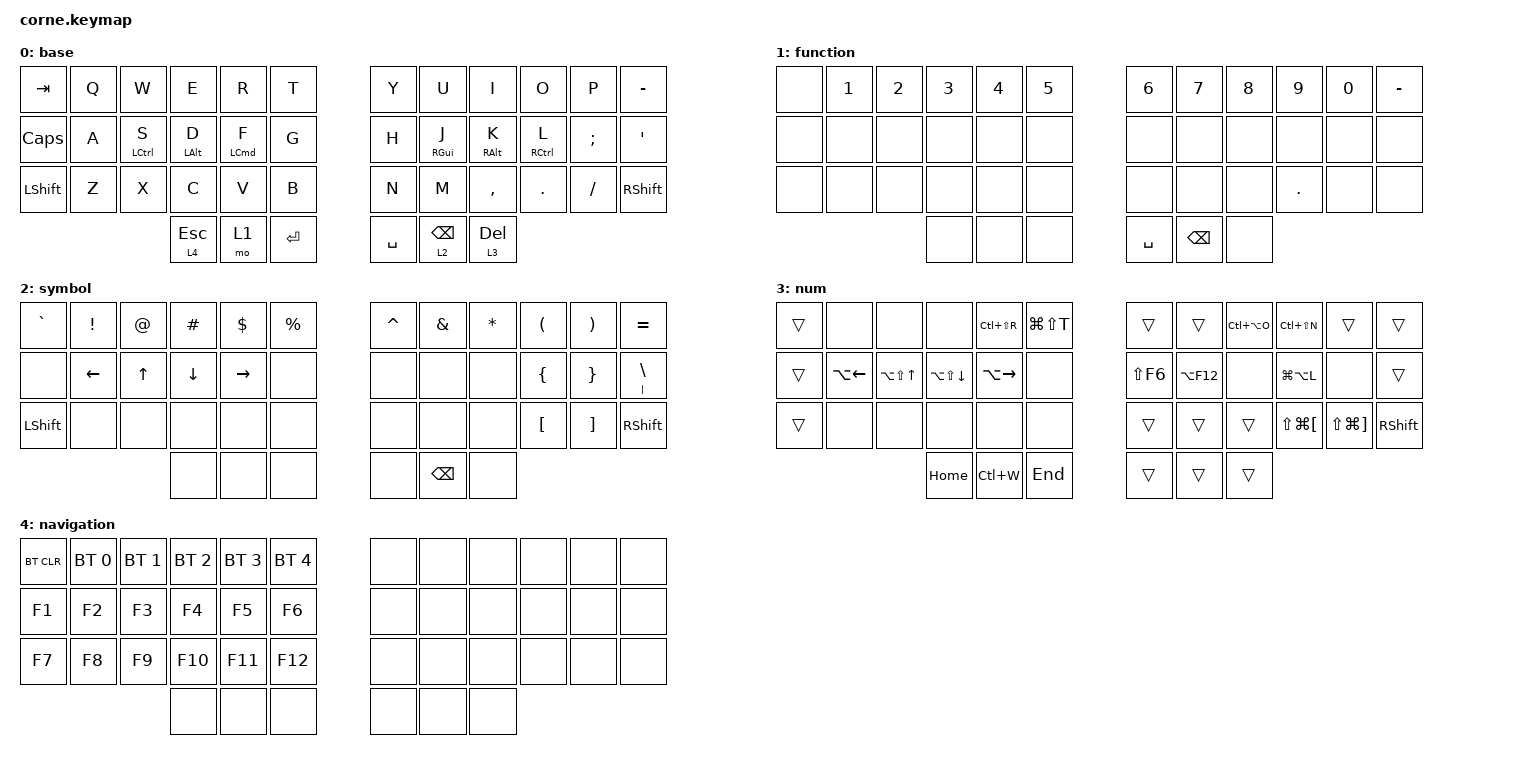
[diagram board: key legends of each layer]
/*
 * Copyright (c) 2020 The ZMK Contributors
 *
 * SPDX-License-Identifier: MIT
 */

#include <behaviors.dtsi>
#include <dt-bindings/zmk/bt.h>
#include <dt-bindings/zmk/keys.h>

/ {
    behaviors {
        bhm: bhm {
            compatible = "zmk,behavior-hold-tap";
            label = "BHM";
            bindings = <&kp>, <&kp>;

            #binding-cells = <2>;
            tapping-term-ms = <280>;
            quick-tap-ms = <175>;
            flavor = "balanced";
            require-prior-idle-ms = <150>;
        };

        bracket_td_L: bracket_td_L {
            compatible = "zmk,behavior-tap-dance";
            label = "BRACKET_TD_L";
            #binding-cells = <0>;
            bindings =
                <&kp LEFT_BRACKET>,
                <&kp LEFT_PARENTHESIS>,
                <&kp LEFT_BRACE>;
        };

        quote_TD: quote_TD {
            compatible = "zmk,behavior-tap-dance";
            label = "QUOTE_TD";
            #binding-cells = <0>;
            bindings = <&kp SINGLE_QUOTE>, <&kp DOUBLE_QUOTES>, <&kp GRAVE>;
        };

        colon_TD: colon_TD {
            compatible = "zmk,behavior-tap-dance";
            label = "COLON_TD";
            #binding-cells = <0>;
            bindings = <&bhm LEFT_SHIFT SEMICOLON>, <&kp COLON>;

            tapping-term-ms = <150>;
        };

        bracket_TD_R: bracket_TD_R {
            compatible = "zmk,behavior-tap-dance";
            label = "BRACKET_TD_R";
            #binding-cells = <0>;
            bindings =
                <&kp RIGHT_BRACKET>,
                <&kp RIGHT_PARENTHESIS>,
                <&kp RIGHT_BRACE>;
        };

        slash_TD: slash_TD {
            compatible = "zmk,behavior-tap-dance";
            label = "SLASH_TD";
            #binding-cells = <0>;
            bindings = <&kp SLASH>, <&kp BACKSLASH>;
        };
    };

    keymap {
        compatible = "zmk,keymap";

        base {
            // -----------------------------------------------------------------------------------------
            // |  TAB |  Q  |  W  |  E  |  R  |  T  |   |  Y  |  U   |  I  |  O  |  P  | BKSP |
            // | CTRL |  A  |  S  |  D  |  F  |  G  |   |  H  |  J   |  K  |  L  |  ;  |  '   |
            // | SHFT |  Z  |  X  |  C  |  V  |  B  |   |  N  |  M   |  ,  |  .  |  /  | ESC  |
            //                    | GUI | LWR | SPC |   | ENT | RSE  | ALT |

            bindings = <
&kp TAB         &kp Q  &kp W                &kp E            &kp R                &kp T         &kp Y      &kp U             &kp I             &kp O                 &kp P      &kp MINUS
&kp CAPS        &kp A  &bhm LEFT_CONTROL S  &bhm LEFT_ALT D  &bhm LEFT_COMMAND F  &kp G         &kp H      &bhm RIGHT_GUI J  &bhm RIGHT_ALT K  &bhm RIGHT_CONTROL L  &kp SEMI   &kp SQT
&kp LEFT_SHIFT  &kp Z  &kp X                &kp C            &kp V                &kp B         &kp N      &kp M             &kp COMMA         &kp DOT               &kp SLASH  &kp RIGHT_SHIFT
                                            &lt 4 ESCAPE     &mo 1                &kp RETURN    &kp SPACE  &lt 2 BACKSPACE   &lt 3 DELETE
            >;
        };

        number {
            // -----------------------------------------------------------------------------------------
            // |  TAB |  1  |  2  |  3  |  4  |  5  |   |  6  |  7  |  8  |  9  |  0  | BKSP |
            // | BTCLR| BT1 | BT2 | BT3 | BT4 | BT5 |   | LFT | DWN |  UP | RGT |     |      |
            // | SHFT |     |     |     |     |     |   |     |     |     |     |     |      |
            //                    | GUI |     | SPC |   | ENT |     | ALT |

            bindings = <
&none  &kp NUMBER_1  &kp NUMBER_2  &kp NUMBER_3  &kp NUMBER_4  &kp NUMBER_5    &kp NUMBER_6  &kp NUMBER_7   &kp NUMBER_8  &kp NUMBER_9  &kp NUMBER_0  &kp MINUS
&none  &none         &none         &none         &none         &none           &none         &none          &none         &none         &none         &none
&none  &none         &none         &none         &none         &none           &none         &none          &none         &kp PERIOD    &none         &none
                                   &none         &none         &none           &kp SPACE     &kp BACKSPACE  &none
            >;

            label = "function";
        };

        symbol {
            // -----------------------------------------------------------------------------------------
            // |  TAB |  !  |  @  |  #  |  $  |  %  |   |  ^  |  &  |  *  |  (  |  )  | BKSP |
            // | CTRL |     |     |     |     |     |   |  -  |  =  |  [  |  ]  |  \  |  `   |
            // | SHFT |     |     |     |     |     |   |  _  |  +  |  {  |  }  | "|" |  ~   |
            //                    | GUI |     | SPC |   | ENT |     | ALT |

            bindings = <
&kp GRAVE       &kp EXCLAMATION  &kp AT        &kp POUND       &kp DOLLAR       &kp PERCENT    &kp CARET  &kp AMPERSAND  &kp ASTERISK  &kp LEFT_PARENTHESIS  &kp RIGHT_PARENTHESIS  &kp EQUAL
&none           &kp LEFT_ARROW   &kp UP_ARROW  &kp DOWN_ARROW  &kp RIGHT_ARROW  &none          &none      &none          &none         &kp LEFT_BRACE        &kp RIGHT_BRACE        &bhm PIPE BACKSLASH
&kp LEFT_SHIFT  &none            &none         &none           &none            &none          &none      &none          &none         &kp LEFT_BRACKET      &kp RIGHT_BRACKET      &kp RIGHT_SHIFT
                                               &none           &none            &none          &none      &kp BACKSPACE  &none
            >;

            label = "symbol";
        };

        shortcut {
            bindings = <
&trans  &none               &none           &none             &kp LC(LS(R))        &kp LG(LS(T))    &trans      &trans       &kp LC(LA(O))  &kp LC(LS(N))             &trans                     &trans
&trans  &kp LA(LEFT_ARROW)  &kp LA(LS(UP))  &kp LA(LS(DOWN))  &kp LA(RIGHT_ARROW)  &none            &kp LS(F6)  &kp LA(F12)  &none          &kp LG(LA(L))             &none                      &trans
&trans  &none               &none           &none             &none                &none            &trans      &trans       &trans         &kp LS(LG(LEFT_BRACKET))  &kp LS(LG(RIGHT_BRACKET))  &kp RIGHT_SHIFT
                                            &kp HOME          &kp LC(W)            &kp END          &trans      &trans       &trans
            >;

            label = "num";
        };

        navigation {
            bindings = <
&bt BT_CLR  &bt BT_SEL 0  &bt BT_SEL 1  &bt BT_SEL 2  &bt BT_SEL 3  &bt BT_SEL 4    &none  &none  &none  &none  &none  &none
&kp F1      &kp F2        &kp F3        &kp F4        &kp F5        &kp F6          &none  &none  &none  &none  &none  &none
&kp F7      &kp F8        &kp F9        &kp F10       &kp F11       &kp F12         &none  &none  &none  &none  &none  &none
                                        &none         &none         &none           &none  &none  &none
            >;

            label = "navigation";
        };
    };
};
